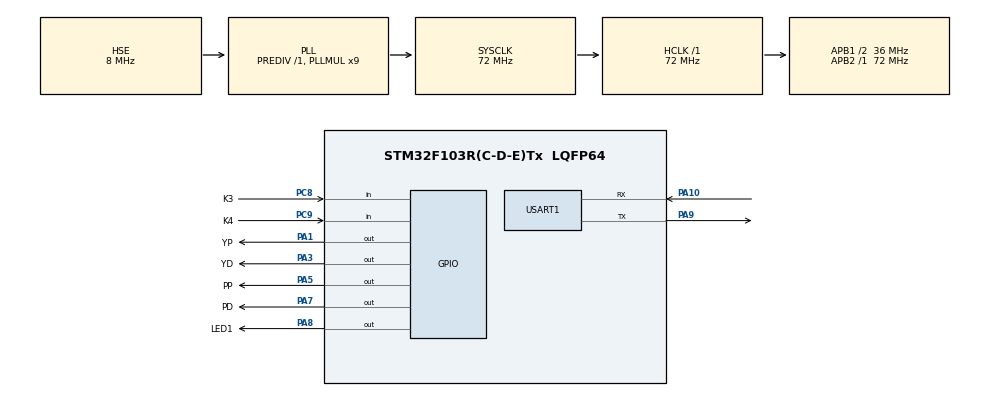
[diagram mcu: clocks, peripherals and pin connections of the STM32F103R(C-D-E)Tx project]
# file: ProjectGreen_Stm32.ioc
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Mcu.Family=STM32F1
Mcu.Name=STM32F103R(C-D-E)Tx
Mcu.Package=LQFP64
NVIC.PriorityGroup=NVIC_PRIORITYGROUP_4
NVIC.TIM2_IRQn=true\:0\:0\:false\:false\:true\:true\:true
NVIC.USART1_IRQn=true\:0\:0\:false\:false\:true\:true\:true
PA1.GPIO_Label=YP
PA1.GPIO_Speed=GPIO_SPEED_FREQ_HIGH
PA1.Signal=GPIO_Output
PA10.Mode=Asynchronous
PA10.Signal=USART1_RX
PA13.Mode=Serial_Wire
PA13.Signal=SYS_JTMS-SWDIO
PA14.Mode=Serial_Wire
PA14.Signal=SYS_JTCK-SWCLK
PA3.GPIO_Label=YD
PA3.GPIO_Speed=GPIO_SPEED_FREQ_HIGH
PA3.Signal=GPIO_Output
PA5.GPIO_Label=PP
PA5.GPIO_Speed=GPIO_SPEED_FREQ_HIGH
PA5.Signal=GPIO_Output
PA7.GPIO_Label=PD
PA7.GPIO_Speed=GPIO_SPEED_FREQ_HIGH
PA7.Signal=GPIO_Output
PA8.GPIO_Label=LED1
PA8.PinState=GPIO_PIN_SET
PA8.Signal=GPIO_Output
PA9.Mode=Asynchronous
PA9.Signal=USART1_TX
PC8.GPIO_Label=K3
PC8.GPIO_PuPd=GPIO_PULLUP
PC8.Signal=GPIO_Input
PC9.GPIO_Label=K4
PC9.GPIO_PuPd=GPIO_PULLUP
PC9.Signal=GPIO_Input
PD0-OSC_IN.Mode=HSE-External-Oscillator
PD0-OSC_IN.Signal=RCC_OSC_IN
PD1-OSC_OUT.Mode=HSE-External-Oscillator
PD1-OSC_OUT.Signal=RCC_OSC_OUT
ProjectManager.HeapSize=0x200
ProjectManager.StackSize=0x400
ProjectManager.TargetToolchain=MDK-ARM V5.27
RCC.AHBFreq_Value=72000000
RCC.APB1CLKDivider=RCC_HCLK_DIV2
RCC.APB1Freq_Value=36000000
RCC.APB1TimFreq_Value=72000000
RCC.APB2Freq_Value=72000000
RCC.APB2TimFreq_Value=72000000
RCC.HCLKFreq_Value=72000000
RCC.PLLMUL=RCC_PLL_MUL9
RCC.PLLSourceVirtual=RCC_PLLSOURCE_HSE
RCC.SYSCLKFreq_VALUE=72000000
RCC.SYSCLKSource=RCC_SYSCLKSOURCE_PLLCLK
RCC.USBFreq_Value=72000000
TIM2.AutoReloadPreload=TIM_AUTORELOAD_PRELOAD_ENABLE
TIM2.ClockDivision=TIM_CLOCKDIVISION_DIV1
TIM2.Period=10000-1
TIM2.Prescaler=72
USART1.VirtualMode=VM_ASYNC
VP_TIM2_VS_ClockSourceINT.Mode=Internal
board=custom

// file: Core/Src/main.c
/* USER CODE BEGIN Header */
/**
  ******************************************************************************
  * @file           : main.c
  * @brief          : Main program body
  ******************************************************************************
  * @attention
  *
  * Copyright (c) 2023 STMicroelectronics.
  * All rights reserved.
  *
  * This software is licensed under terms that can be found in the LICENSE file
  * in the root directory of this software component.
  * If no LICENSE file comes with this software, it is provided AS-IS.
  *
  ******************************************************************************
  */
/* USER CODE END Header */
#include "main.h"
#include "tim.h"
#include "usart.h"
#include "gpio.h"

/* USER CODE BEGIN Includes */
#include "headfile.h"
#include "delay.h"

#include "key.h"
#include "led.h"

#include "task_decision.h"

#include "motor.h"

#include "openmv.h"

/* USER CODE END Includes */

/* USER CODE BEGIN PV */
int32_t time_count_flag;
int32_t mission_time_count;

state_machine_t StateMachine;

uint8_t pointer = 0;
/* USER CODE END PV */

void SystemClock_Config(void);
/* USER CODE BEGIN PFP */
void clear_statemachine(void);
void clear_openmvmessage(void);
void steering_init(void);
/* USER CODE END PFP */

int main(void)
{

  /* MCU Configuration--------------------------------------------------------*/

  /* Reset of all peripherals, Initializes the Flash interface and the Systick. */
  HAL_Init();

  /* Configure the system clock */
  SystemClock_Config();

  /* USER CODE BEGIN SysInit */
  delay_init(72);
  /* USER CODE END SysInit */

  /* Initialize all configured peripherals */
  MX_GPIO_Init();
  MX_TIM2_Init();
  MX_USART1_UART_Init();
  /* USER CODE BEGIN 2 */
  HAL_TIM_Base_Start_IT(&htim2);

  //--------------------------------------------------main--------------------------------------------------

//    while(1)
//    {
//		time_count_flag = 1;
//		pointer = 0;
//        if(KEY_Input() == KEY1_PRESSED)
//        {
//            pulse_steering(5, 5);
//			pointer = 1;
//        }
//        else
//        {
//            pulse_steering(-5, -5);
//			pointer = 2;
//        }
//

//    }

  /* USER CODE END 2 */

  /* Infinite loop */
  /* USER CODE BEGIN WHILE */
  while (1)
  {
    clear_statemachine();
    clear_openmvmessage();

    LED1_ON;
    KEY_Input();
    LED1_OFF;

    StateMachine.state = 1;
    StateMachine.task_mode = pointer + 1;

    task_1();

    /* USER CODE END WHILE */

  }
}

void SystemClock_Config(void)
{
  RCC_OscInitTypeDef RCC_OscInitStruct = {0};
  RCC_ClkInitTypeDef RCC_ClkInitStruct = {0};

  /** Initializes the RCC Oscillators according to the specified parameters
  * in the RCC_OscInitTypeDef structure.
  */
  RCC_OscInitStruct.OscillatorType = RCC_OSCILLATORTYPE_HSE;
  RCC_OscInitStruct.HSEState = RCC_HSE_ON;
  RCC_OscInitStruct.HSEPredivValue = RCC_HSE_PREDIV_DIV1;
  RCC_OscInitStruct.HSIState = RCC_HSI_ON;
  RCC_OscInitStruct.PLL.PLLState = RCC_PLL_ON;
  RCC_OscInitStruct.PLL.PLLSource = RCC_PLLSOURCE_HSE;
  RCC_OscInitStruct.PLL.PLLMUL = RCC_PLL_MUL9;
  if (HAL_RCC_OscConfig(&RCC_OscInitStruct) != HAL_OK)
  {
    Error_Handler();
  }
  /** Initializes the CPU, AHB and APB buses clocks
  */
  RCC_ClkInitStruct.ClockType = RCC_CLOCKTYPE_HCLK|RCC_CLOCKTYPE_SYSCLK
                              |RCC_CLOCKTYPE_PCLK1|RCC_CLOCKTYPE_PCLK2;
  RCC_ClkInitStruct.SYSCLKSource = RCC_SYSCLKSOURCE_PLLCLK;
  RCC_ClkInitStruct.AHBCLKDivider = RCC_SYSCLK_DIV1;
  RCC_ClkInitStruct.APB1CLKDivider = RCC_HCLK_DIV2;
  RCC_ClkInitStruct.APB2CLKDivider = RCC_HCLK_DIV1;

  if (HAL_RCC_ClockConfig(&RCC_ClkInitStruct, FLASH_LATENCY_2) != HAL_OK)
  {
    Error_Handler();
  }
}

/* USER CODE BEGIN 4 */
void clear_statemachine()
{
    StateMachine.state = 0;
    StateMachine.task_mode = 0;
    StateMachine.task_progress = 0;

    StateMachine.led_state = SIGN_OFF;
    StateMachine.buzzer_state = SIGN_OFF;

    StateMachine.input_speed = 0;
}
void clear_openmvmessage()
{
    OpenmvMessage.number = 0;
    OpenmvMessage.laser_x[0] = 125;
    OpenmvMessage.laser_x[1] = 125;
    OpenmvMessage.laser_y[0] = 125;
    OpenmvMessage.laser_y[1] = 125;
}
/* USER CODE END 4 */

void Error_Handler(void)
{
  __disable_irq();
  while (1)
  {
  }
}
